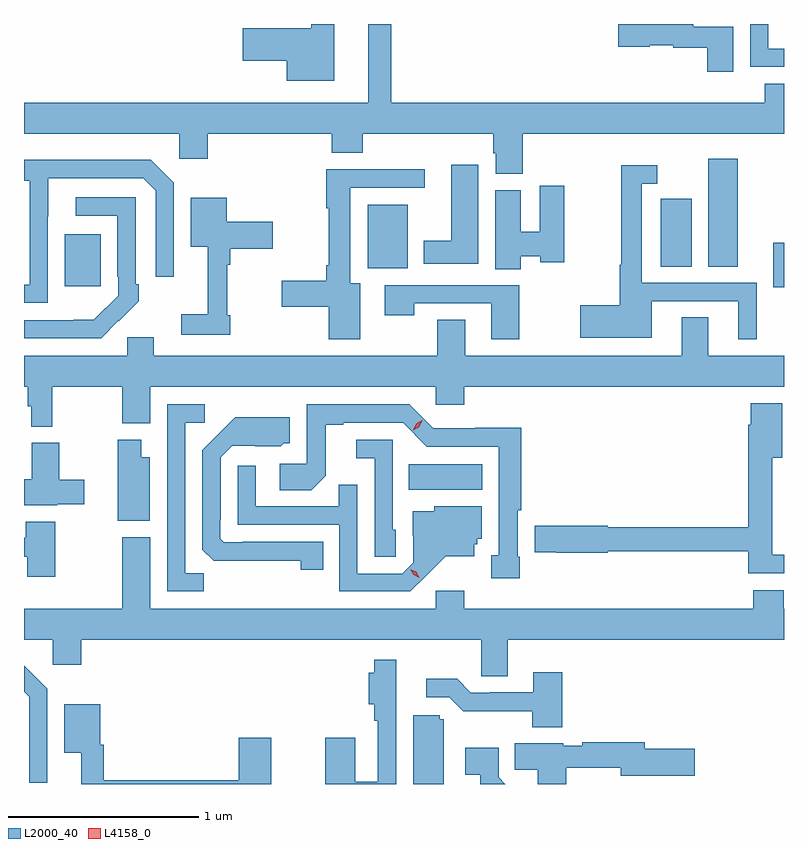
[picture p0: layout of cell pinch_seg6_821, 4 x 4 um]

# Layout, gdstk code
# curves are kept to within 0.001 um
import gdstk
lib = gdstk.Library(unit=1e-6, precision=1e-09)
def R(c, l, rs):  # rectangles x0, y0, x1, y1
    for r in rs: c.add(gdstk.rectangle(r[:2], r[2:], *l))
def P(c, l, *ps):  # polygons
    for p in ps: c.add(gdstk.Polygon(p, *l))
L2000_40 = (2000, 40)
L4158_0 = (4158, 0)

pinch_seg6_821 = lib.new_cell('pinch_seg6_821')
R(pinch_seg6_821, L2000_40, [(144.25,989.42,144.637,989.554), (146.168,990.485,146.224,990.718), (142.439,990.489,142.627,990.763), (144.032,990.584,144.244,990.919), (145.574,990.592,145.738,990.949), (145.826,990.592,145.981,991.162)])
P(pinch_seg6_821, L2000_40, [(143.857,991.87),(143.736,991.87),(143.736,991.847),(143.376,991.847),(143.376,991.676),(143.606,991.676),(143.606,991.571),(143.857,991.571)],
  [(146.224,991.74),(146.142,991.74),(146.142,991.87),(146.046,991.87),(146.046,991.644),(146.224,991.644)],
  [(145.957,991.855),(145.747,991.855),(145.747,991.87),(145.352,991.87),(145.352,991.75),(145.518,991.75),(145.518,991.758),(145.641,991.758),(145.641,991.746),(145.819,991.746),(145.819,991.62),(145.957,991.62)],
  [(144.848,991.292),(146.224,991.292),(146.224,991.555),(146.123,991.555),(146.123,991.456),(144.157,991.456),(144.157,991.87),(144.035,991.87),(144.035,991.456),(142.224,991.456),(142.224,991.292),(143.04,991.292),(143.04,991.161),(143.192,991.161),(143.192,991.292),(143.843,991.292),(143.843,991.193),(144.008,991.193),(144.008,991.292),(144.695,991.292),(144.695,991.191),(144.707,991.191),(144.707,991.081),(144.848,991.081)],
  [(142.35,990.859),(142.351,991.059),(142.851,991.059),(142.917,990.993),(142.917,990.54),(143.013,990.54),(143.013,991.035),(142.892,991.156),(142.224,991.156),(142.224,991.046),(142.254,991.046),(142.254,990.498),(142.224,990.498),(142.224,990.402),(142.35,990.402)],
  [(144.616,991.129),(144.473,991.129),(144.473,990.73),(144.329,990.73),(144.329,990.608),(144.616,990.608)],
  [(146.08,990.507),(145.476,990.507),(145.476,991.029),(145.558,991.029),(145.558,991.126),(145.368,991.126),(145.368,990.604),(145.36,990.604),(145.36,990.389),(145.152,990.389),(145.152,990.218),(145.528,990.218),(145.528,990.411),(145.982,990.411),(145.982,990.21),(146.08,990.21)],
  [(143.995,990.505),(143.941,990.505),(143.941,991.008),(144.334,991.008),(144.334,991.106),(143.816,991.106),(143.816,990.901),(143.828,990.901),(143.828,990.601),(143.816,990.601),(143.816,990.518),(143.58,990.518),(143.58,990.383),(143.828,990.383),(143.828,990.21),(143.995,990.21)],
  [(144.838,990.647),(144.942,990.647),(144.942,990.617),(145.068,990.617),(145.068,991.018),(144.938,991.018),(144.938,990.777),(144.838,990.777),(144.838,990.996),(144.704,990.996),(144.704,990.58),(144.838,990.58)],
  [(142.721,990.307),(142.722,990.306),(142.827,990.411),(142.827,990.499),(142.812,990.499),(142.812,990.957),(142.497,990.957),(142.497,990.861),(142.716,990.861),(142.716,990.541),(142.719,990.541),(142.719,990.441),(142.591,990.313),(142.224,990.312),(142.224,990.216),(142.63,990.216)],
  [(143.309,990.337),(143.294,990.337),(143.294,990.602),(143.309,990.602),(143.309,990.686),(143.533,990.686),(143.533,990.828),(143.29,990.828),(143.29,990.955),(143.102,990.955),(143.102,990.698),(143.192,990.698),(143.192,990.343),(143.052,990.343),(143.052,990.234),(143.309,990.234)],
  [(144.831,990.495),(144.123,990.495),(144.123,990.336),(144.279,990.336),(144.279,990.399),(144.683,990.399),(144.683,990.21),(144.831,990.21)],
  [(142.372,989.96),(142.741,989.96),(142.741,989.768),(142.888,989.768),(142.888,989.96),(144.39,989.96),(144.39,989.867),(144.542,989.867),(144.542,989.96),(146.224,989.96),(146.224,990.124),(145.825,990.124),(145.825,990.326),(145.685,990.326),(145.685,990.124),(144.547,990.124),(144.547,990.314),(144.4,990.314),(144.4,990.124),(142.906,990.124),(142.906,990.222),(142.767,990.222),(142.767,990.124),(142.224,990.124),(142.224,989.96),(142.243,989.96),(142.243,989.859),(142.263,989.859),(142.263,989.75),(142.372,989.75)],
  [(146.224,989.076),(146.161,989.076),(146.161,989.588),(146.215,989.588),(146.215,989.875),(146.048,989.875),(146.048,989.762),(146.036,989.762),(146.036,989.222),(145.296,989.222),(145.296,989.228),(144.912,989.228),(144.912,989.089),(145.024,989.089),(145.024,989.086),(145.296,989.086),(145.296,989.094),(146.036,989.094),(146.036,988.979),(146.224,988.979)],
  [(144.834,989.065),(144.823,989.065),(144.823,989.311),(144.841,989.311),(144.841,989.744),(144.6,989.744),(144.6,989.742),(144.378,989.742),(144.252,989.868),(143.712,989.868),(143.712,989.556),(143.571,989.556),(143.571,989.416),(143.735,989.416),(143.811,989.492),(143.811,989.76),(143.905,989.76),(143.905,989.772),(144.219,989.772),(144.345,989.646),(144.722,989.646),(144.722,989.073),(144.683,989.073),(144.683,988.953),(144.834,988.953)],
  [(143.169,988.979),(143.073,988.979),(143.073,989.772),(143.176,989.772),(143.176,989.868),(142.977,989.868),(142.977,988.884),(143.169,988.884)],
  [(143.798,989.145),(143.374,989.145),(143.374,989.142),(143.274,989.142),(143.256,989.16),(143.256,989.26),(143.259,989.26),(143.259,989.589),(143.319,989.649),(143.576,989.648),(143.592,989.664),(143.623,989.664),(143.623,989.8),(143.335,989.8),(143.163,989.626),(143.163,989.104),(143.222,989.045),(143.68,989.044),(143.68,988.998),(143.798,988.998)],
  [(142.885,989.59),(142.84,989.59),(142.84,989.683),(142.718,989.683),(142.718,989.255),(142.885,989.255)],
  [(144.18,989.208),(144.165,989.208),(144.165,989.682),(143.973,989.682),(143.973,989.585),(144.069,989.585),(144.069,989.065),(144.18,989.065)],
  [(142.398,989.342),(142.54,989.342),(142.54,989.472),(142.41,989.472),(142.41,989.665),(142.265,989.665),(142.265,989.474),(142.224,989.474),(142.224,989.336),(142.398,989.336)],
  [(144.34,988.967),(144.443,989.069),(144.595,989.069),(144.595,989.133),(144.609,989.133),(144.609,989.16),(144.634,989.16),(144.634,989.332),(144.384,989.332),(144.384,989.305),(144.269,989.305),(144.269,989.176),(144.273,989.176),(144.273,989.034),(144.216,988.977),(143.979,988.977),(143.979,989.444),(143.881,989.444),(143.881,989.331),(143.445,989.331),(143.445,989.545),(143.349,989.545),(143.349,989.235),(143.883,989.235),(143.883,988.884),(144.256,988.884)],
  [(142.389,989.251),(142.234,989.251),(142.234,989.165),(142.224,989.165),(142.224,989.067),(142.241,989.067),(142.241,988.962),(142.389,988.962)],
  [(144.769,988.628),(146.224,988.628),(146.224,988.792),(146.223,988.792),(146.223,988.891),(146.063,988.891),(146.063,988.792),(144.542,988.792),(144.542,988.888),(144.39,988.888),(144.39,988.792),(142.888,988.792),(142.888,989.17),(142.741,989.17),(142.741,988.792),(142.224,988.792),(142.224,988.628),(142.374,988.628),(142.374,988.497),(142.526,988.497),(142.526,988.628),(144.63,988.628),(144.63,988.438),(144.769,988.438)],
  [(144.183,988.302),(144.184,988.302),(144.184,988.525),(144.067,988.525),(144.067,988.456),(144.038,988.456),(144.038,988.291),(144.067,988.291),(144.067,988.202),(144.087,988.202),(144.087,987.883),(143.968,987.883),(143.968,988.114),(143.81,988.114),(143.81,987.87),(144.183,987.87)],
  [(142.347,988.371),(142.226,988.492),(142.224,988.492),(142.224,988.356),(142.251,988.329),(142.251,987.876),(142.347,987.876)],
  [(145.058,988.459),(144.905,988.459),(144.905,988.353),(144.676,988.353),(144.676,988.35),(144.576,988.35),(144.503,988.423),(144.342,988.423),(144.342,988.326),(144.462,988.326),(144.535,988.253),(144.898,988.254),(144.898,988.169),(145.058,988.169)],
  [(143.524,988.114),(143.354,988.114),(143.354,987.89),(142.643,987.89),(142.643,988.077),(142.624,988.077),(142.624,988.291),(142.436,988.291),(142.436,988.034),(142.526,988.034),(142.526,987.87),(143.524,987.87)],
  [(144.433,988.212),(144.411,988.212),(144.411,988.233),(144.272,988.233),(144.272,987.87),(144.433,987.87)],
  [(145.079,987.955),(145.364,987.955),(145.364,987.913),(145.753,987.913),(145.753,988.055),(145.492,988.055),(145.492,988.091),(145.162,988.091),(145.162,988.071),(145.062,988.071),(145.062,988.084),(144.808,988.084),(144.808,987.946),(144.929,987.946),(144.929,987.87),(145.079,987.87)],
  [(144.723,987.905),(144.723,988.06),(144.546,988.06),(144.546,987.92),(144.626,987.92),(144.626,987.87),(144.758,987.87)])
P(pinch_seg6_821, L4158_0, [(144.272,989.733),(144.272,989.733),(144.289,989.765),(144.321,989.784),(144.321,989.784),(144.321,989.784),(144.304,989.751),(144.272,989.733)],
  [(144.304,988.956),(144.274,988.971),(144.257,989.001),(144.257,989.001),(144.257,989.001),(144.288,988.986),(144.305,988.956),(144.305,988.956)])

lib.write_gds('pinch_seg6_821.gds')
